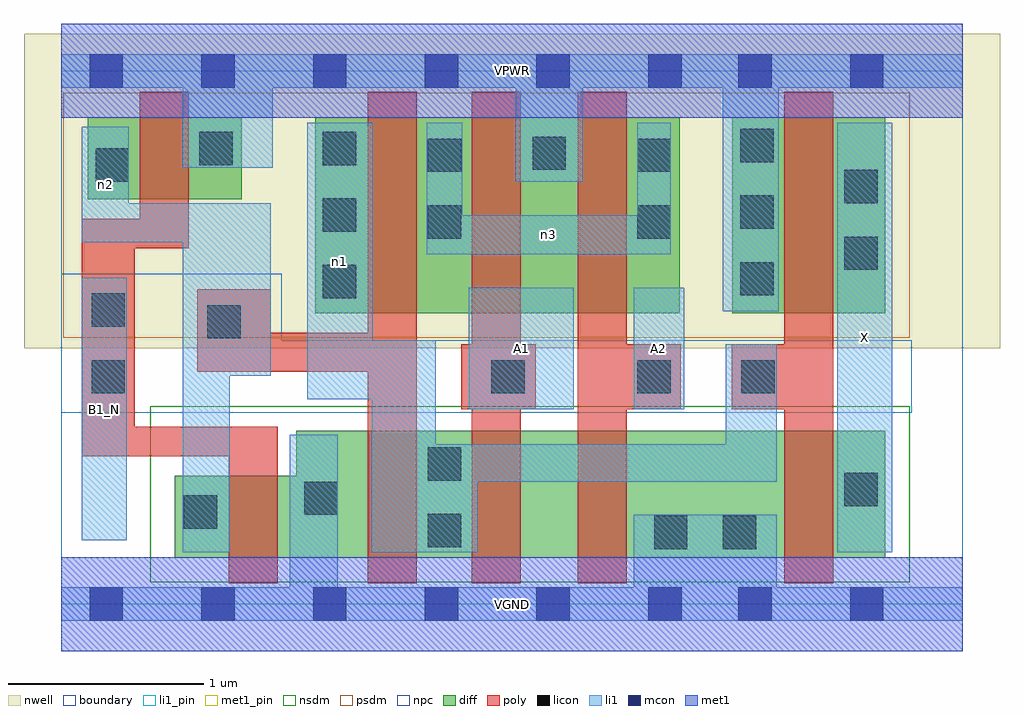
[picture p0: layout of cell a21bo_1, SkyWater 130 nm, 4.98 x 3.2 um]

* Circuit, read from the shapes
.subckt a21bo_1 A1 A2 B1_N VGND VPWR X n1 n2 n3
XM1 VGND B1_N n2 VSUBS sky130_fd_pr__nfet_01v8 w=0.42 l=0.25
XM2 n1 n2 VGND VSUBS sky130_fd_pr__nfet_01v8 w=0.65 l=0.25
XM3 n4 A1 n1 VSUBS sky130_fd_pr__nfet_01v8 w=0.65 l=0.25
XM4 VGND A2 n4 VSUBS sky130_fd_pr__nfet_01v8 w=0.65 l=0.25
XM5 X n1 VGND VSUBS sky130_fd_pr__nfet_01v8 w=0.65 l=0.25
XM6 VPWR B1_N n2 n5 sky130_fd_pr__pfet_01v8 w=0.42 l=0.25
XM7 n3 n2 n1 n5 sky130_fd_pr__pfet_01v8 w=1 l=0.25
XM8 VPWR A1 n3 n5 sky130_fd_pr__pfet_01v8 w=1 l=0.25
XM9 n3 A2 VPWR n5 sky130_fd_pr__pfet_01v8 w=1 l=0.25
XM10 X n1 VPWR n5 sky130_fd_pr__pfet_01v8 w=1 l=0.25
.ends

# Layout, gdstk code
import gdstk
lib = gdstk.Library(unit=1e-6, precision=1e-09)
def R(c, l, rs):  # rectangles x0, y0, x1, y1
    for r in rs: c.add(gdstk.rectangle(r[:2], r[2:], *l))
def A(c, l, x, y, w, h, nx, ny, dx, dy):  # array of equal rectangles
    R(c, l, [(x+i*dx, y+j*dy, x+i*dx+w, y+j*dy+h) for i in range(nx) for j in range(ny)])
nwell = (64, 20)
diff = (65, 20)
poly = (66, 20)
licon = (66, 44)
li1_pin = (67, 16)
li1 = (67, 20)
mcon = (67, 44)
met1_pin = (68, 16)
met1 = (68, 20)
nsdm = (93, 44)
psdm = (94, 20)
npc = (95, 20)
boundary = (235, 4)

a21bo_1 = lib.new_cell('a21bo_1')
R(a21bo_1, nwell, [(-0.19,1.305,4.79,2.91), (0,1.305,4.6,2.91)])
R(a21bo_1, diff, [(0.58,0.235,4.205,0.655), (1.2,0.235,4.205,0.885), (1.295,1.485,3.155,2.485), (3.425,1.485,4.205,2.485), (0.135,2.065,0.92,2.485)])
R(a21bo_1, poly, [(0.855,0.105,1.105,0.905), (1.565,0.105,1.815,2.615), (2.095,0.105,2.345,2.615), (2.635,0.105,2.885,2.615), (3.69,0.105,3.94,2.615), (0.105,0.755,0.375,1.965), (0.105,0.755,1.105,0.905), (2.04,0.995,2.42,1.325), (2.635,0.995,3.16,1.325), (3.42,0.995,3.94,1.325), (0.695,1.185,1.815,1.385), (0.695,1.185,1.07,1.605), (0.105,1.815,0.65,1.965), (0.4,1.815,0.65,2.615)])
A(a21bo_1, licon, 1.335, 1.56, 0.17, 0.17, 1, 3, 0, 0.34)
A(a21bo_1, licon, 3.465, 1.575, 0.17, 0.17, 1, 3, 0, 0.34)
R(a21bo_1, licon, [(3.025,0.28,3.195,0.45), (3.375,0.28,3.545,0.45), (1.87,0.29,2.04,0.46), (0.625,0.385,0.795,0.555), (1.24,0.455,1.41,0.625), (3.995,0.5,4.165,0.67), (1.87,0.63,2.04,0.8), (0.155,1.075,0.325,1.245), (2.195,1.075,2.365,1.245), (2.94,1.075,3.11,1.245), (3.47,1.075,3.64,1.245), (0.745,1.355,0.915,1.525), (0.155,1.415,0.325,1.585), (3.995,1.705,4.165,1.875), (1.87,1.865,2.04,2.035), (2.94,1.865,3.11,2.035), (3.995,2.045,4.165,2.215), (0.175,2.155,0.345,2.325), (1.87,2.205,2.04,2.375), (2.94,2.205,3.11,2.375), (2.405,2.215,2.575,2.385), (0.705,2.24,0.875,2.41)])
R(a21bo_1, li1_pin, [(3.96,0.265,4.24,2.455), (0.105,0.325,0.335,1.665), (2.08,0.995,2.615,1.615), (2.92,0.995,3.18,1.615)])
R(a21bo_1, li1, [(0,-0.085,4.6,0.085), (1.165,-0.085,1.41,0.865), (2.92,-0.085,3.65,0.455), (0.62,0.265,0.86,2.045), (1.585,0.265,1.91,1.345), (1.585,0.265,2.125,0.815), (3.96,0.265,4.24,2.455), (0.105,0.325,0.335,1.665), (1.585,0.625,3.65,0.815), (3.39,0.625,3.65,1.325), (2.08,0.995,2.615,1.615), (2.92,0.995,3.18,1.615), (1.255,1.045,1.59,2.455), (0.62,1.165,1.07,2.045), (3.375,1.495,3.66,2.805), (1.865,1.785,3.11,1.985), (1.865,1.785,2.045,2.455), (2.94,1.785,3.11,2.455), (0.105,1.845,0.345,2.435), (0.105,1.845,1.07,2.045), (2.32,2.155,2.66,2.805), (0.62,2.225,1.08,2.805), (0,2.635,4.6,2.805)])
A(a21bo_1, mcon, 0.145, -0.085, 0.17, 0.17, 6, 2, 0.57, 2.72)
R(a21bo_1, mcon, [(3.455,-0.085,3.625,0.085), (4.025,-0.085,4.195,0.085), (3.455,2.635,3.625,2.805), (4.025,2.635,4.195,2.805)])
R(a21bo_1, met1_pin, [(0,-0.24,4.6,0.24), (0,2.48,4.6,2.96)])
R(a21bo_1, met1, [(0,-0.24,4.6,0.24), (0,2.48,4.6,2.96)])
R(a21bo_1, nsdm, [(0.455,0.11,4.33,1.01)])
R(a21bo_1, psdm, [(0.01,1.36,4.33,2.61)])
R(a21bo_1, npc, [(0,0.975,4.34,1.345), (0,0.975,1.125,1.685)])
R(a21bo_1, boundary, [(0,0,4.6,2.72)])
a21bo_1.add(gdstk.Label('A1', (2.347,1.305), layer=67, texttype=5))
a21bo_1.add(gdstk.Label('A2', (3.05,1.305), layer=67, texttype=5))
a21bo_1.add(gdstk.Label('B1_N', (0.22,0.995), layer=67, texttype=5))
a21bo_1.add(gdstk.Label('X', (4.1,1.36), layer=67, texttype=5))
a21bo_1.add(gdstk.Label('n2', (0.225,2.14), layer=67, texttype=5))
a21bo_1.add(gdstk.Label('n1', (1.422,1.75), layer=67, texttype=5))
a21bo_1.add(gdstk.Label('n3', (2.487,1.885), layer=67, texttype=5))
a21bo_1.add(gdstk.Label('VPWR', (2.3,2.72), layer=68, texttype=5))
a21bo_1.add(gdstk.Label('VGND', (2.3,0), layer=68, texttype=5))
a21bo_1.add(gdstk.Label('A1', (2.347,1.305), layer=67, texttype=16))
a21bo_1.add(gdstk.Label('A2', (3.05,1.305), layer=67, texttype=16))
a21bo_1.add(gdstk.Label('B1_N', (0.22,0.995), layer=67, texttype=16))
a21bo_1.add(gdstk.Label('X', (4.1,1.36), layer=67, texttype=16))
a21bo_1.add(gdstk.Label('VPWR', (2.3,2.72), layer=68, texttype=16))
a21bo_1.add(gdstk.Label('VGND', (2.3,0), layer=68, texttype=16))

lib.write_gds('a21bo_1.gds')
